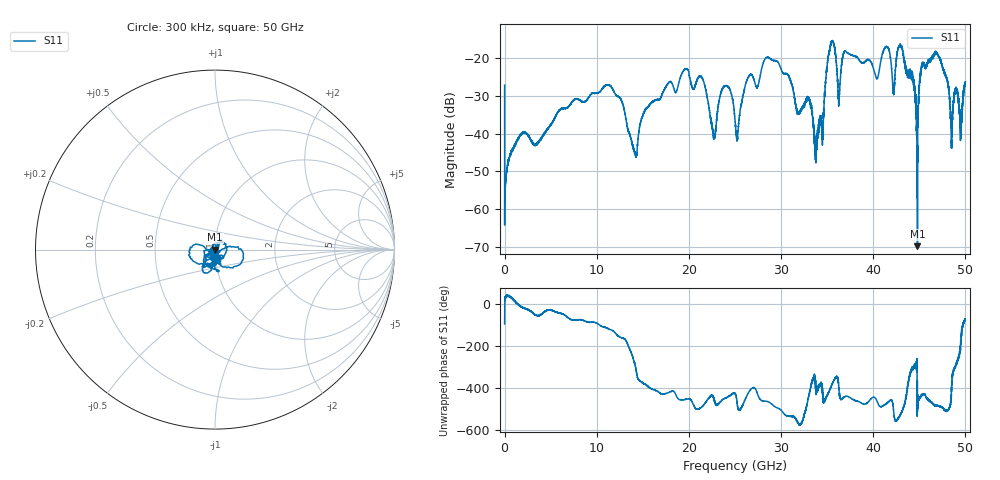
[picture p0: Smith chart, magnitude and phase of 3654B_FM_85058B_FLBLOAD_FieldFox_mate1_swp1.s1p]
!Created with skrf (http://scikit-rf.org).
# Hz S RI R 50.0
!freq ReS11 ImS11
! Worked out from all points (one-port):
!   10001 points, 300 kHz to 50 GHz, reference 50 ohm
!   lowest |S11| = -69.8 dB at 44.8 GHz (marker M1), VSWR 1.00, Z = 50 - j0.0255 ohm
!   |S11| at or under -10 dB: start of sweep to end of sweep
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300000  -0.00428 -0.0436
2.552985e8  0.00297 0.00201
6.250262e9  0.0145 -0.0159
1.250022e10  -0.0277 -0.0115
1.417021e10  0.00235 0.00491
1.530021e10  0.0191 -0.00841
1.875019e10  0.00184 -0.0396
2.136017e10  -0.0379 -0.0419
2.271016e10  -0.000465 -0.00867
2.415516e10  0.0039 -0.0427
2.500015e10  0.00606 -0.014
2.843013e10  -0.0245 -0.0986
3.125011e10  -0.0419 -0.00205
3.30551e10  0.00973 -0.0257
3.38051e10  0.00365 -0.00306
3.540509e10  0.1228 -0.0969
3.628008e10  0.018 -0.0178
3.750008e10  0.00587 -0.1114
4.038006e10  -0.00937 -0.0527
4.150005e10  -0.0542 -0.13
4.221505e10  -0.0282 -0.017
4.293004e10  -0.1466 -0.0309
4.375004e10  0.0576 -0.0227
4.480003e10  -0.000202 -0.000255
4.529503e10  0.0214 -0.0775
4.670502e10  -0.0699 -0.0956
4.850001e10  0.0052 -0.00558
5e10  0.0112 -0.0471
